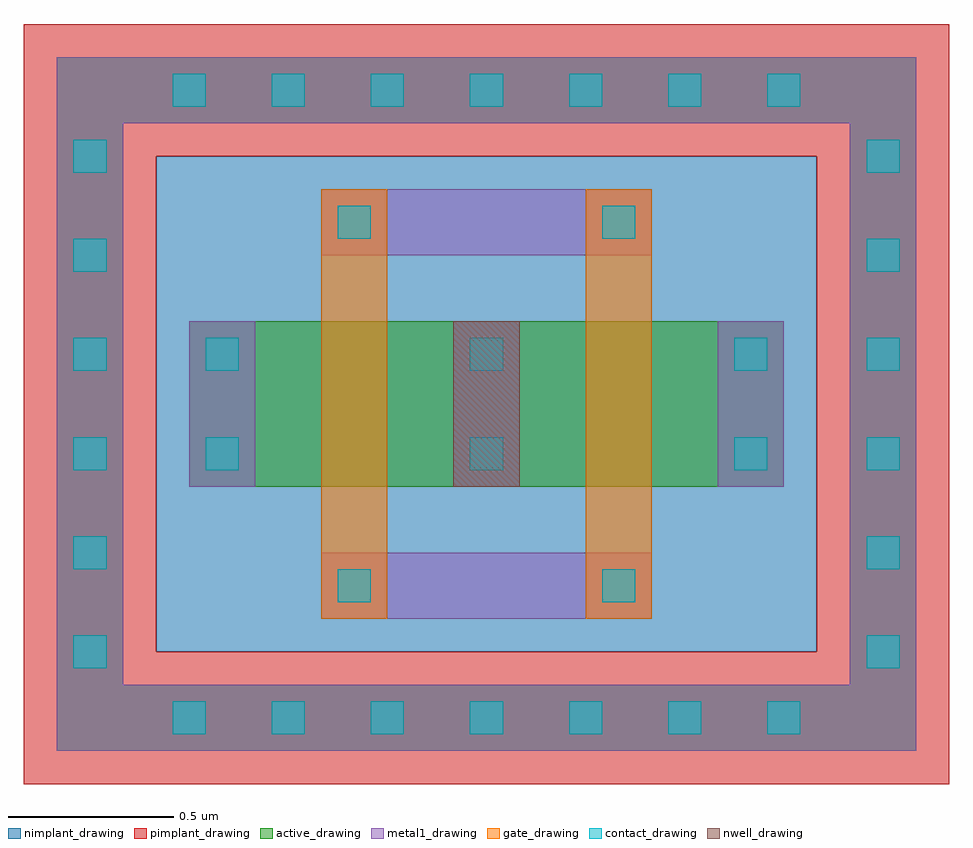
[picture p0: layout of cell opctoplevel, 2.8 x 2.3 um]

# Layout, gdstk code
import gdstk
lib = gdstk.Library(unit=1e-6, precision=1e-09)
def R(c, l, rs):  # rectangles x0, y0, x1, y1
    for r in rs: c.add(gdstk.rectangle(r[:2], r[2:], *l))
def A(c, l, x, y, w, h, nx, ny, dx, dy):  # array of equal rectangles
    R(c, l, [(x+i*dx, y+j*dy, x+i*dx+w, y+j*dy+h) for i in range(nx) for j in range(ny)])
active_drawing = (1, 0)
nwell_drawing = (3, 0)
pimplant_drawing = (4, 0)
nimplant_drawing = (5, 0)
gate_drawing = (6, 0)
contact_drawing = (7, 0)
metal1_drawing = (8, 0)

opctoplevel = lib.new_cell('opctoplevel')
R(opctoplevel, active_drawing, [(-0.4,-0.8,2.2,-0.6), (-0.4,-0.8,-0.2,1.3), (2,-0.8,2.2,1.3), (0,0,1.8,0.5), (-0.4,1.1,2.2,1.3)])
R(opctoplevel, nwell_drawing, [(0.8,0,1,0.5)])
R(opctoplevel, pimplant_drawing, [(-0.5,-0.9,2.3,-0.5), (-0.5,-0.9,-0.1,1.4), (1.9,-0.9,2.3,1.4), (-0.5,1,2.3,1.4)])
R(opctoplevel, nimplant_drawing, [(-0.1,-0.5,1.9,1), (0,-0.4,1.8,0.9)])
R(opctoplevel, gate_drawing, [(0.4,-0.4,0.6,0.9), (1.2,-0.4,1.4,0.9)])
A(opctoplevel, contact_drawing, -0.05, -0.75, 0.1, 0.1, 7, 2, 0.3, 1.9)
A(opctoplevel, contact_drawing, -0.35, -0.55, 0.1, 0.1, 1, 6, 0, 0.3)
A(opctoplevel, contact_drawing, 2.05, -0.55, 0.1, 0.1, 1, 6, 0, 0.3)
A(opctoplevel, contact_drawing, 0.05, 0.05, 0.1, 0.1, 3, 2, 0.8, 0.3)
R(opctoplevel, contact_drawing, [(0.45,-0.35,0.55,-0.25), (1.25,-0.35,1.35,-0.25), (0.45,0.75,0.55,0.85), (1.25,0.75,1.35,0.85)])
A(opctoplevel, metal1_drawing, 0, 0, 0.2, 0.5, 3, 1, 0.8, 0)
R(opctoplevel, metal1_drawing, [(-0.4,-0.8,2.2,-0.6), (-0.4,-0.8,-0.2,1.3), (2,-0.8,2.2,1.3), (0.4,-0.4,1.4,-0.2), (0.4,0.7,1.4,0.9), (-0.4,1.1,2.2,1.3)])

lib.write_gds('opctoplevel.gds')
